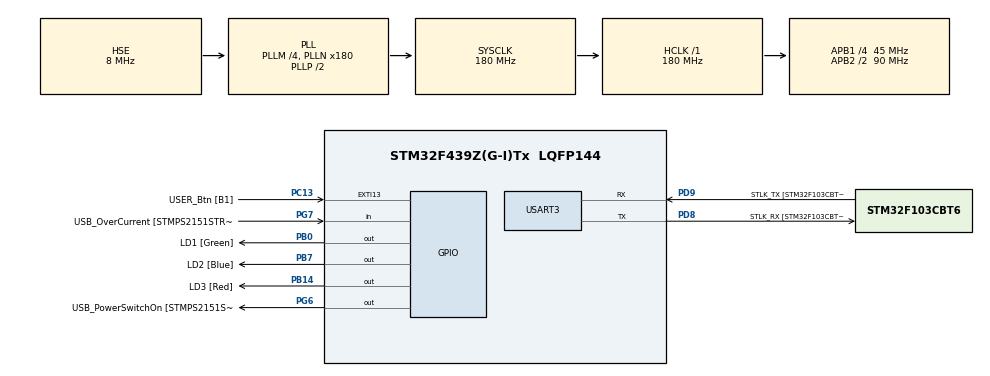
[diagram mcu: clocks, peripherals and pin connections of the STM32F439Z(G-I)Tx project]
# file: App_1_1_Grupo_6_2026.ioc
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Mcu.Family=STM32F4
Mcu.Name=STM32F439Z(G-I)Tx
Mcu.Package=LQFP144
NVIC.PriorityGroup=NVIC_PRIORITYGROUP_4
PA13.GPIO_Label=TMS
PA13.Mode=Serial_Wire
PA13.Signal=SYS_JTMS-SWDIO
PA14.GPIO_Label=TCK
PA14.Mode=Serial_Wire
PA14.Signal=SYS_JTCK-SWCLK
PB0.GPIO_Label=LD1 [Green]
PB0.Signal=GPIO_Output
PB14.GPIO_Label=LD3 [Red]
PB14.Signal=GPIO_Output
PB7.GPIO_Label=LD2 [Blue]
PB7.Signal=GPIO_Output
PC13.GPIO_Label=USER_Btn [B1]
PC13.Signal=GPXTI13
PC14/OSC32_IN.Mode=LSE-External-Oscillator
PC14/OSC32_IN.Signal=RCC_OSC32_IN
PC15/OSC32_OUT.Mode=LSE-External-Oscillator
PC15/OSC32_OUT.Signal=RCC_OSC32_OUT
PD8.GPIO_Label=STLK_RX [STM32F103CBT6_PA3]
PD8.Mode=Asynchronous
PD8.Signal=USART3_TX
PD9.GPIO_Label=STLK_TX [STM32F103CBT6_PA2]
PD9.Mode=Asynchronous
PD9.Signal=USART3_RX
PG6.GPIO_Label=USB_PowerSwitchOn [STMPS2151STR_EN]
PG6.Signal=GPIO_Output
PG7.GPIO_Label=USB_OverCurrent [STMPS2151STR_FAULT]
PG7.Signal=GPIO_Input
PH0/OSC_IN.GPIO_Label=MCO [STM32F103CBT6_PA8]
PH0/OSC_IN.Mode=HSE-External-Oscillator
PH0/OSC_IN.Signal=RCC_OSC_IN
PH1/OSC_OUT.Mode=HSE-External-Oscillator
PH1/OSC_OUT.Signal=RCC_OSC_OUT
ProjectManager.HeapSize=0x200
ProjectManager.StackSize=0x400
ProjectManager.TargetToolchain=STM32CubeIDE
RCC.48MHZClocksFreq_Value=51428571.428571425
RCC.AHBFreq_Value=180000000
RCC.APB1CLKDivider=RCC_HCLK_DIV4
RCC.APB1Freq_Value=45000000
RCC.APB1TimFreq_Value=90000000
RCC.APB2CLKDivider=RCC_HCLK_DIV2
RCC.APB2Freq_Value=90000000
RCC.APB2TimFreq_Value=180000000
RCC.CortexFreq_Value=180000000
RCC.HCLKFreq_Value=180000000
RCC.HSE_VALUE=8000000
RCC.HSI_VALUE=16000000
RCC.PLLM=4
RCC.PLLMUL=RCC_PLL_MUL9
RCC.PLLN=180
RCC.PLLQ=7
RCC.PLLSourceVirtual=RCC_PLLSOURCE_HSE
RCC.PRESCALERUSB=RCC_USBCLKSOURCE_PLL_DIV1_5
RCC.SYSCLKFreq_VALUE=180000000
RCC.SYSCLKSource=RCC_SYSCLKSOURCE_PLLCLK
RCC.SYSCLKSourceVirtual=RCC_SYSCLKSOURCE_PLLCLK
RCC.USBFreq_Value=48000000
RCC.VCOOutputFreq_Value=360000000
USART3.VirtualMode=VM_ASYNC
board=NUCLEO-F439ZI

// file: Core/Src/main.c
/* USER CODE BEGIN Header */
/**
 ******************************************************************************
 * @file           : main.c
 * @brief          : Main program body
 ******************************************************************************
 * @attention
 *
 * Copyright (c) 2026 STMicroelectronics.
 * All rights reserved.
 *
 * This software is licensed under terms that can be found in the LICENSE file
 * in the root directory of this software component.
 * If no LICENSE file comes with this software, it is provided AS-IS.
 *
 ******************************************************************************
 */
/* USER CODE END Header */
#include "main.h"

/* USER CODE BEGIN PTD */

/** * @brief Estructura para el mapeo de hardware.
 * Permite desacoplar la lógica de control de los pines físicos.
 */
typedef struct{
	GPIO_TypeDef* port;  	// Puntero a la estructura de registros del puerto (GPIOA, GPIOB, etc.)
	uint16_t pin;       	// Máscara del pin (GPIO_PIN_0, etc.)
} GPIO_Config_t;

/** * @brief Definición de estados para la MEF.
 */
typedef enum{
	Estado_Encendido = 0,
	Estado_Apagado
} Estado_t;

/* USER CODE END PTD */

UART_HandleTypeDef huart3;

/* USER CODE BEGIN PV */

/** * @brief Arreglo de configuración de hardware.
 * Se define como 'const' para residir en Flash y ahorrar RAM.
 */
const GPIO_Config_t leds_array [] = {
		{LD1_GPIO_Port, LD1_Pin},
		{LD2_GPIO_Port, LD2_Pin},
		{LD3_GPIO_Port, LD3_Pin}
};

const uint8_t cant_leds = sizeof (leds_array) / sizeof(leds_array[0]);	// Se calcula automaticamente la cantidad de elementos del array
const uint32_t tiempo = 200;											// Valor constante para las transciciones de Encendido-Apagado
static int indice = 0;													// Variable que iterara el arreglo
static Estado_t estado = Estado_Encendido;								//Estado inicial de la MEF
/* USER CODE END PV */

void SystemClock_Config(void);
static void MX_GPIO_Init(void);
static void MX_USART3_UART_Init(void);

int main(void)
{

	/* MCU Configuration--------------------------------------------------------*/

	/* Reset of all peripherals, Initializes the Flash interface and the Systick. */
	HAL_Init();

	/* Configure the system clock */
	SystemClock_Config();

	/* Initialize all configured peripherals */
	MX_GPIO_Init();
	MX_USART3_UART_Init();

	/* Infinite loop */
	while (1)
	{

		/* USER CODE BEGIN 3 */

				/*
		         * @brief Máquina de Estados Finitos (MEF) para secuencia de LEDs.
		         * @details Esta estructura gestiona la secuencia los LEDs:
		         * 1. Estado_Encendido: Aplica el nivel lógico SET al pin.
		         * 2. Estado_Apagado: Aplica el nivel lógico RESET e incrementa el índice.
		         * Ambos estados utilizan el tiempo definido para Encendido-Apagado.
		         */
		switch (estado) {
		//Estado en donde se enciende un determinado pin
		case Estado_Encendido:
			HAL_GPIO_WritePin(leds_array[indice].port, leds_array[indice].pin, GPIO_PIN_SET);
			HAL_Delay(tiempo);
			estado = Estado_Apagado;	// Trancision obligatoria al siguiente estado (apagado)
			break;
		// Estado en donde se apaga un determinado pin y retoma al estado anterior
		case Estado_Apagado:
			HAL_GPIO_WritePin(leds_array[indice].port, leds_array[indice].pin, GPIO_PIN_RESET);
			HAL_Delay(tiempo);
			estado = Estado_Encendido;	// Retorna al estado de Encendido
			indice++;					// Prepara al siguiente pin
				if(indice >= cant_leds) indice = 0;	// Reinicia el indice luegeo de recorrer todos los elementos del array leds_array
			break;
		default:
			// Manejo de estado inválido para evitar comportamiento errático
			for (uint8_t j = 0; j < cant_leds; j++) {
				HAL_GPIO_WritePin(leds_array[j].port, leds_array[j].pin, GPIO_PIN_RESET);
			}
			estado = Estado_Encendido;	// Se reinicia al estado inicial
			indice = 0;					// Reinicia al primer elemento del array leds_array
			break;
		}

	}
	/* USER CODE END 3 */
}

void SystemClock_Config(void)
{
	RCC_OscInitTypeDef RCC_OscInitStruct = {0};
	RCC_ClkInitTypeDef RCC_ClkInitStruct = {0};

	/** Configure the main internal regulator output voltage
	 */
	__HAL_RCC_PWR_CLK_ENABLE();
	__HAL_PWR_VOLTAGESCALING_CONFIG(PWR_REGULATOR_VOLTAGE_SCALE1);

	/** Initializes the RCC Oscillators according to the specified parameters
	 * in the RCC_OscInitTypeDef structure.
	 */
	RCC_OscInitStruct.OscillatorType = RCC_OSCILLATORTYPE_HSE;
	RCC_OscInitStruct.HSEState = RCC_HSE_ON;
	RCC_OscInitStruct.PLL.PLLState = RCC_PLL_ON;
	RCC_OscInitStruct.PLL.PLLSource = RCC_PLLSOURCE_HSE;
	RCC_OscInitStruct.PLL.PLLM = 4;
	RCC_OscInitStruct.PLL.PLLN = 180;
	RCC_OscInitStruct.PLL.PLLP = RCC_PLLP_DIV2;
	RCC_OscInitStruct.PLL.PLLQ = 7;
	if (HAL_RCC_OscConfig(&RCC_OscInitStruct) != HAL_OK)
	{
		Error_Handler();
	}

	/** Activate the Over-Drive mode
	 */
	if (HAL_PWREx_EnableOverDrive() != HAL_OK)
	{
		Error_Handler();
	}

	/** Initializes the CPU, AHB and APB buses clocks
	 */
	RCC_ClkInitStruct.ClockType = RCC_CLOCKTYPE_HCLK|RCC_CLOCKTYPE_SYSCLK
			|RCC_CLOCKTYPE_PCLK1|RCC_CLOCKTYPE_PCLK2;
	RCC_ClkInitStruct.SYSCLKSource = RCC_SYSCLKSOURCE_PLLCLK;
	RCC_ClkInitStruct.AHBCLKDivider = RCC_SYSCLK_DIV1;
	RCC_ClkInitStruct.APB1CLKDivider = RCC_HCLK_DIV4;
	RCC_ClkInitStruct.APB2CLKDivider = RCC_HCLK_DIV2;

	if (HAL_RCC_ClockConfig(&RCC_ClkInitStruct, FLASH_LATENCY_5) != HAL_OK)
	{
		Error_Handler();
	}
}

static void MX_USART3_UART_Init(void)
{

	huart3.Instance = USART3;
	huart3.Init.BaudRate = 115200;
	huart3.Init.WordLength = UART_WORDLENGTH_8B;
	huart3.Init.StopBits = UART_STOPBITS_1;
	huart3.Init.Parity = UART_PARITY_NONE;
	huart3.Init.Mode = UART_MODE_TX_RX;
	huart3.Init.HwFlowCtl = UART_HWCONTROL_NONE;
	huart3.Init.OverSampling = UART_OVERSAMPLING_16;
	if (HAL_UART_Init(&huart3) != HAL_OK)
	{
		Error_Handler();
	}

}

static void MX_GPIO_Init(void)
{
	GPIO_InitTypeDef GPIO_InitStruct = {0};

	/* GPIO Ports Clock Enable */
	__HAL_RCC_GPIOC_CLK_ENABLE();
	__HAL_RCC_GPIOH_CLK_ENABLE();
	__HAL_RCC_GPIOB_CLK_ENABLE();
	__HAL_RCC_GPIOD_CLK_ENABLE();
	__HAL_RCC_GPIOG_CLK_ENABLE();
	__HAL_RCC_GPIOA_CLK_ENABLE();

	/*Configure GPIO pin Output Level */
	HAL_GPIO_WritePin(GPIOB, LD1_Pin|LD3_Pin|LD2_Pin, GPIO_PIN_RESET);

	/*Configure GPIO pin Output Level */
	HAL_GPIO_WritePin(USB_PowerSwitchOn_GPIO_Port, USB_PowerSwitchOn_Pin, GPIO_PIN_RESET);

	/*Configure GPIO pin : USER_Btn_Pin */
	GPIO_InitStruct.Pin = USER_Btn_Pin;
	GPIO_InitStruct.Mode = GPIO_MODE_IT_RISING;
	GPIO_InitStruct.Pull = GPIO_NOPULL;
	HAL_GPIO_Init(USER_Btn_GPIO_Port, &GPIO_InitStruct);

	/*Configure GPIO pins : LD1_Pin LD3_Pin LD2_Pin */
	GPIO_InitStruct.Pin = LD1_Pin|LD3_Pin|LD2_Pin;
	GPIO_InitStruct.Mode = GPIO_MODE_OUTPUT_PP;
	GPIO_InitStruct.Pull = GPIO_NOPULL;
	GPIO_InitStruct.Speed = GPIO_SPEED_FREQ_LOW;
	HAL_GPIO_Init(GPIOB, &GPIO_InitStruct);

	/*Configure GPIO pin : USB_PowerSwitchOn_Pin */
	GPIO_InitStruct.Pin = USB_PowerSwitchOn_Pin;
	GPIO_InitStruct.Mode = GPIO_MODE_OUTPUT_PP;
	GPIO_InitStruct.Pull = GPIO_NOPULL;
	GPIO_InitStruct.Speed = GPIO_SPEED_FREQ_LOW;
	HAL_GPIO_Init(USB_PowerSwitchOn_GPIO_Port, &GPIO_InitStruct);

	/*Configure GPIO pin : USB_OverCurrent_Pin */
	GPIO_InitStruct.Pin = USB_OverCurrent_Pin;
	GPIO_InitStruct.Mode = GPIO_MODE_INPUT;
	GPIO_InitStruct.Pull = GPIO_NOPULL;
	HAL_GPIO_Init(USB_OverCurrent_GPIO_Port, &GPIO_InitStruct);

}

void Error_Handler(void)
{
	__disable_irq();
	while (1)
	{
	}
}
